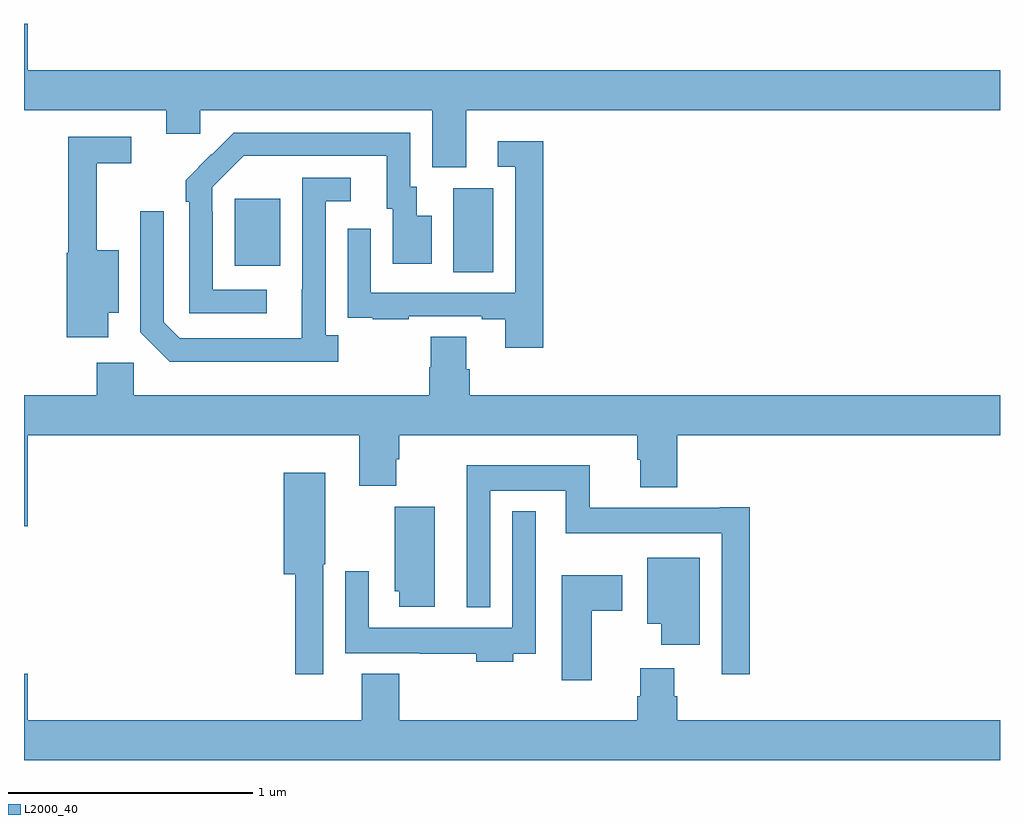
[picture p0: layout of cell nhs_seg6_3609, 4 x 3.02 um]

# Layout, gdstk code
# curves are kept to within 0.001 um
import gdstk
lib = gdstk.Library(unit=1e-6, precision=1e-09)
def R(c, l, rs):  # rectangles x0, y0, x1, y1
    for r in rs: c.add(gdstk.rectangle(r[:2], r[2:], *l))
def P(c, l, *ps):  # polygons
    for p in ps: c.add(gdstk.Polygon(p, *l))
L2000_40 = (2000, 40)

nhs_seg6_3609 = lib.new_cell('nhs_seg6_3609')
R(nhs_seg6_3609, L2000_40, [(322.76,991.96,322.924,992.304), (321.863,991.985,322.051,992.26)])
P(nhs_seg6_3609, L2000_40, [(322.813,992.624),(325,992.624),(325,992.788),(321.016,992.788),(321.016,992.977),(321,992.977),(321,992.624),(321.584,992.624),(321.584,992.526),(321.723,992.526),(321.723,992.624),(322.673,992.624),(322.673,992.389),(322.813,992.389)],
  [(321.994,991.887),(321.774,991.887),(321.774,992.207),(321.771,992.207),(321.771,992.307),(321.9,992.436),(322.487,992.436),(322.487,992.22),(322.511,992.22),(322.511,991.995),(322.672,991.995),(322.672,992.191),(322.609,992.191),(322.609,992.31),(322.584,992.31),(322.584,992.532),(321.86,992.532),(321.663,992.337),(321.663,992.249),(321.678,992.249),(321.678,991.791),(321.994,991.791)],
  [(321.346,991.793),(321.388,991.793),(321.388,992.05),(321.299,992.05),(321.299,992.406),(321.439,992.406),(321.439,992.514),(321.181,992.514),(321.181,992.04),(321.176,992.04),(321.176,991.692),(321.346,991.692)],
  [(323.129,992.497),(322.941,992.497),(322.941,992.391),(323.013,992.391),(323.013,991.875),(322.422,991.875),(322.422,992.137),(322.326,992.137),(322.326,991.882),(322.327,991.882),(322.327,991.773),(322.429,991.773),(322.429,991.767),(322.577,991.767),(322.577,991.779),(322.877,991.779),(322.877,991.767),(322.973,991.767),(322.973,991.65),(323.129,991.65)],
  [(322.288,991.702),(322.236,991.702),(322.236,992.25),(322.339,992.25),(322.339,992.346),(322.14,992.346),(322.139,991.689),(321.639,991.689),(321.573,991.755),(321.573,992.209),(321.477,992.209),(321.477,991.713),(321.598,991.592),(322.288,991.592)],
  [(321.016,991.292),(322.373,991.292),(322.373,991.084),(322.525,991.084),(322.525,991.193),(322.538,991.193),(322.538,991.292),(323.513,991.292),(323.513,991.191),(323.525,991.191),(323.525,991.079),(323.678,991.079),(323.678,991.292),(325,991.292),(325,991.456),(322.826,991.456),(322.826,991.562),(322.813,991.562),(322.813,991.694),(322.666,991.694),(322.666,991.569),(322.661,991.569),(322.661,991.456),(321.45,991.456),(321.45,991.588),(321.299,991.588),(321.299,991.456),(321,991.456),(321,990.918),(321.016,990.918)],
  [(323.975,990.997),(323.852,990.997),(323.852,990.994),(323.318,990.994),(323.318,991.168),(322.814,991.168),(322.814,990.587),(322.911,990.587),(322.911,991.064),(323.22,991.064),(323.22,990.89),(323.859,990.89),(323.859,990.312),(323.975,990.312)],
  [(322.227,990.762),(322.234,990.762),(322.234,991.138),(322.064,991.138),(322.064,990.722),(322.111,990.722),(322.111,990.312),(322.227,990.312)],
  [(322.684,990.999),(322.52,990.999),(322.52,990.651),(322.538,990.651),(322.538,990.588),(322.684,990.588)],
  [(323.005,990.396),(323.097,990.396),(323.097,990.979),(323.001,990.979),(323.001,990.502),(322.413,990.502),(322.413,990.733),(322.317,990.733),(322.317,990.398),(322.621,990.398),(322.621,990.396),(322.853,990.396),(322.853,990.362),(323.005,990.362)],
  [(323.77,990.79),(323.555,990.79),(323.555,990.518),(323.612,990.518),(323.612,990.432),(323.77,990.432)],
  [(323.326,990.571),(323.452,990.571),(323.452,990.718),(323.204,990.718),(323.204,990.288),(323.326,990.288)],
  [(325,990.124),(323.678,990.124),(323.678,990.222),(323.665,990.222),(323.665,990.337),(323.525,990.337),(323.525,990.222),(323.513,990.222),(323.513,990.124),(322.538,990.124),(322.538,990.313),(322.385,990.313),(322.385,990.124),(321.016,990.124),(321.016,990.313),(321,990.313),(321,989.96),(325,989.96)])

lib.write_gds('nhs_seg6_3609.gds')
